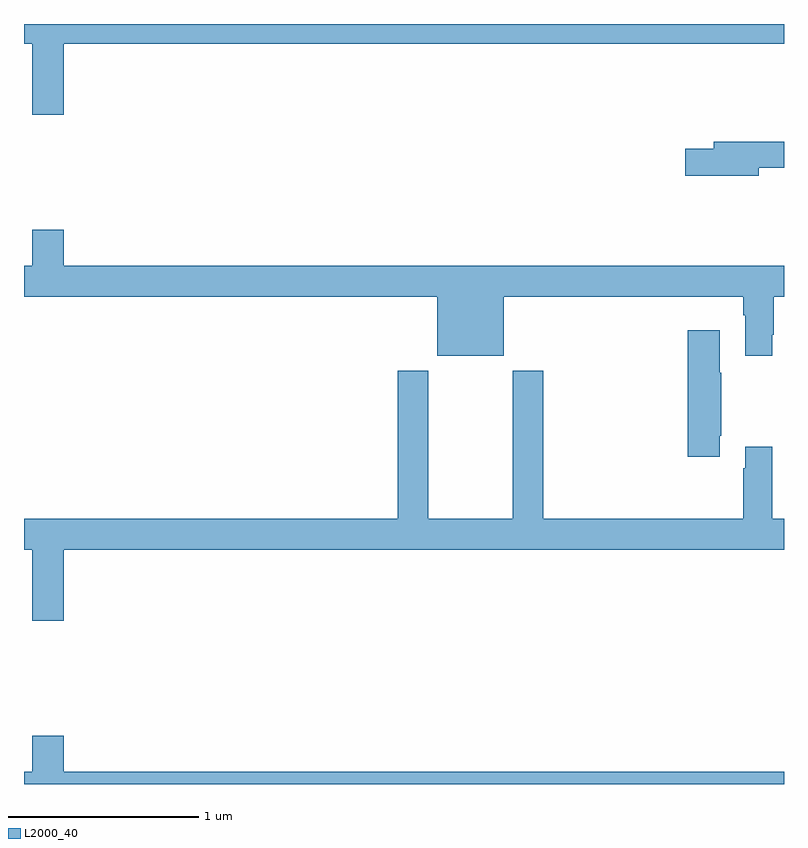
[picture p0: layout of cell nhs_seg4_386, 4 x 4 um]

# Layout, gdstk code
import gdstk
lib = gdstk.Library(unit=1e-6, precision=1e-09)
def P(c, l, *ps):  # polygons
    for p in ps: c.add(gdstk.Polygon(p, *l))
L2000_40 = (2000, 40)

nhs_seg4_386 = lib.new_cell('nhs_seg4_386')
P(nhs_seg4_386, L2000_40, [(129.208,820.796),(133,820.796),(133,820.9),(129,820.9),(129,820.796),(129.044,820.796),(129.044,820.422),(129.208,820.422)],
  [(132.868,820.144),(133,820.144),(133,820.28),(132.629,820.28),(132.629,820.244),(132.48,820.244),(132.48,820.102),(132.868,820.102)],
  [(132.937,819.265),(132.945,819.265),(132.945,819.464),(133,819.464),(133,819.628),(129.208,819.628),(129.208,819.817),(129.044,819.817),(129.044,819.628),(129,819.628),(129,819.464),(131.174,819.464),(131.174,819.155),(131.524,819.155),(131.524,819.464),(132.785,819.464),(132.785,819.368),(132.797,819.368),(132.797,819.153),(132.937,819.153)],
  [(132.661,818.734),(132.669,818.734),(132.669,819.065),(132.661,819.065),(132.661,819.289),(132.494,819.289),(132.494,818.622),(132.661,818.622)],
  [(129.208,818.132),(133,818.132),(133,818.296),(132.937,818.296),(132.937,818.674),(132.797,818.674),(132.797,818.561),(132.785,818.561),(132.785,818.296),(131.732,818.296),(131.732,819.076),(131.572,819.076),(131.572,818.296),(131.127,818.296),(131.127,819.076),(130.967,819.076),(130.967,818.296),(129,818.296),(129,818.132),(129.044,818.132),(129.044,817.758),(129.208,817.758)],
  [(133,816.964),(129.208,816.964),(129.208,817.153),(129.044,817.153),(129.044,816.964),(129,816.964),(129,816.9),(133,816.9)])

lib.write_gds('nhs_seg4_386.gds')
